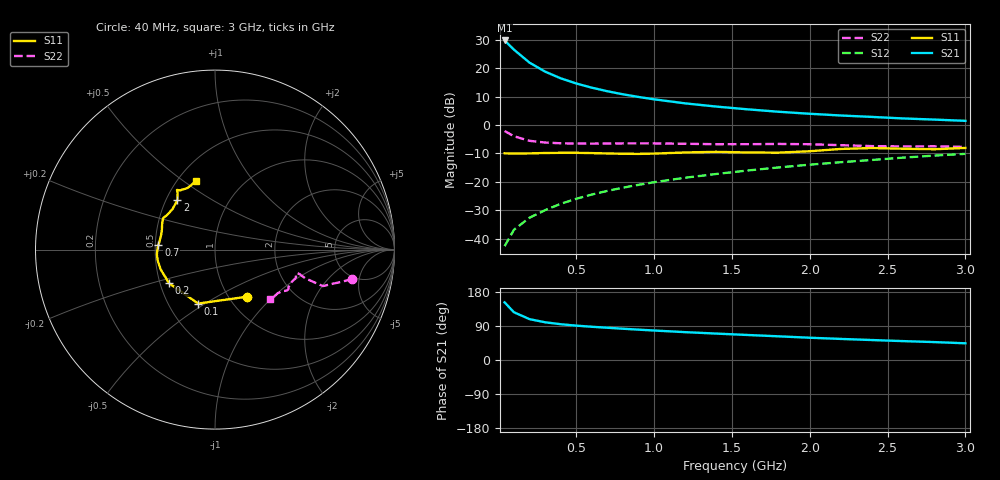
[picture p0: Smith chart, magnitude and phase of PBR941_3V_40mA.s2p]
! Filename:  PBR941I.S2P  Version:  3.0
! Philips part #:  PBR941  Date: July 1998
! Bias condition:  Vce=3V, Ic=40mA
#  MHz  S  MA  R 50
! Freq  S11  S21  S12  S22
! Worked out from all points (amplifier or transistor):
!   21 points, 40 MHz to 3 GHz, reference 50 ohm
!   highest |S21| = 29.7 dB at 40 MHz (marker M1)
!   |S21| within 3 dB of that: start of sweep to 95.6 MHz
!   unconditionally stable (mu >= 1): 151.1 MHz to end of sweep
!   at 300 MHz: K = 1.21, MAG = 21.6 dB, |S12| = -29.9 dB
!   at 1 GHz: K = 1.25, MAG = 11.6 dB, |S12| = -20.1 dB
!   at 3 GHz: K = 1.04, MAG = 4.6 dB, |S12| = -10.1 dB
!   S11 on the Smith chart (normalised r, x): 40 MHz: 1.21, -0.71; 100 MHz: 0.70, -0.47; 200 MHz: 0.56, -0.23; 700 MHz: 0.52, +0.03; 2 GHz: 0.57, +0.36; 3 GHz: 0.62, +0.56
40  0.318 -55.5  30.47 152.0  0.007461 72.3  0.7831 -12.2
100  0.3148 -107.3  20.99 126.0  0.01448 68.9  0.634 -18.7
200  0.3173 -143.8  12.42 107.8  0.02355 71.1  0.5273 -17.6
300  0.3222 -160.0  8.649 99.5  0.03201 74.6  0.4917 -16.2
400  0.3248 -168.8  6.604 94.4  0.0413 76.9  0.4774 -15.9
500  0.3252 -175.2  5.356 90.7  0.05069 79.2  0.4717 -16.2
600  0.3209 -179.9  4.517 87.7  0.06008 79.8  0.4708 -16.8
700  0.3166 175.6  3.915 85.1  0.06973 80.6  0.4725 -17.6
800  0.3123 171.0  3.459 82.5  0.0793 81.1  0.4754 -18.4
900  0.3109 165.4  3.104 80.1  0.08904 81.2  0.4764 -19.1
1000  0.3146 160.5  2.824 77.8  0.09892 81.2  0.4754 -19.8
1200  0.3293 153.2  2.396 73.5  0.1187 80.9  0.468 -21.6
1400  0.3379 148.7  2.105 69.7  0.1381 80.7  0.4599 -24.2
1600  0.329 144.1  1.883 66.0  0.1587 80.2  0.4602 -26.8
1800  0.3271 136.1  1.707 62.5  0.1798 79.6  0.4649 -28.6
2000  0.3461 127.3  1.574 58.8  0.201 78.5  0.4596 -29.9
2200  0.3798 123.2  1.467 55.6  0.2222 77.4  0.4418 -31.6
2400  0.394 122.5  1.386 52.7  0.2433 76.7  0.4256 -34.7
2600  0.3832 120.5  1.303 49.8  0.2674 75.7  0.421 -38.5
2800  0.3755 114.1  1.244 47.3  0.2903 74.3  0.4226 -40.9
3000  0.3954 105.7  1.183 44.1  0.3114 72.8  0.4122 -42.0
